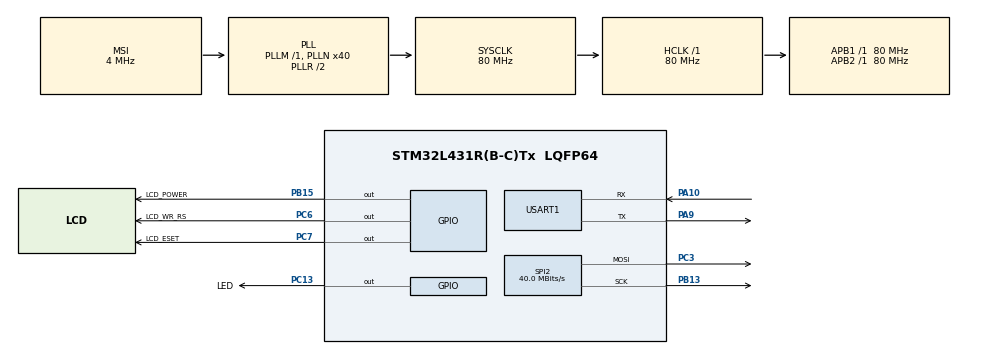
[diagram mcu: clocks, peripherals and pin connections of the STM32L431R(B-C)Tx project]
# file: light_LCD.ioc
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Mcu.Family=STM32L4
Mcu.Name=STM32L431R(B-C)Tx
Mcu.Package=LQFP64
NVIC.PriorityGroup=NVIC_PRIORITYGROUP_4
PA10.Mode=Asynchronous
PA10.Signal=USART1_RX
PA9.Mode=Asynchronous
PA9.Signal=USART1_TX
PB13.Mode=TX_Only_Simplex_Unidirect_Master
PB13.Signal=SPI2_SCK
PB15.GPIO_Label=LCD_POWER
PB15.Signal=GPIO_Output
PC13.GPIO_Label=LED
PC13.Signal=GPIO_Output
PC3.Mode=TX_Only_Simplex_Unidirect_Master
PC3.Signal=SPI2_MOSI
PC6.GPIO_Label=LCD_WR_RS
PC6.Signal=GPIO_Output
PC7.GPIO_Label=LCD_ESET
PC7.Signal=GPIO_Output
ProjectManager.HeapSize=0x200
ProjectManager.StackSize=0x400
ProjectManager.TargetToolchain=MDK-ARM V5.32
RCC.AHBFreq_Value=80000000
RCC.APB1Freq_Value=80000000
RCC.APB1TimFreq_Value=80000000
RCC.APB2Freq_Value=80000000
RCC.APB2TimFreq_Value=80000000
RCC.CortexFreq_Value=80000000
RCC.HCLKFreq_Value=80000000
RCC.HSE_VALUE=8000000
RCC.HSI48_VALUE=48000000
RCC.HSI_VALUE=16000000
RCC.LSE_VALUE=32768
RCC.MSI_VALUE=4000000
RCC.PLLN=40
RCC.SYSCLKFreq_VALUE=80000000
RCC.SYSCLKSource=RCC_SYSCLKSOURCE_PLLCLK
RCC.VCOOutputFreq_Value=160000000
SPI2.CLKPhase=SPI_PHASE_2EDGE
SPI2.CLKPolarity=SPI_POLARITY_HIGH
SPI2.CalculateBaudRate=40.0 MBits/s
SPI2.DataSize=SPI_DATASIZE_8BIT
SPI2.Direction=SPI_DIRECTION_2LINES
SPI2.Mode=SPI_MODE_MASTER
SPI2.VirtualType=VM_MASTER
USART1.VirtualMode-Asynchronous=VM_ASYNC
board=custom

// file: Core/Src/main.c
/* USER CODE BEGIN Header */
/**
  ******************************************************************************
  * @file           : main.c
  * @brief          : Main program body
  ******************************************************************************
  * @attention
  *
  * <h2><center>&copy; Copyright (c) 2021 STMicroelectronics.
  * All rights reserved.</center></h2>
  *
  * This software component is licensed by ST under BSD 3-Clause license,
  * the "License"; You may not use this file except in compliance with the
  * License. You may obtain a copy of the License at:
  *                        opensource.org/licenses/BSD-3-Clause
  *
  ******************************************************************************
  */
/* USER CODE END Header */
#include "main.h"
#include "spi.h"
#include "usart.h"
#include "gpio.h"

/* USER CODE BEGIN Includes */
#include "LCD.h" //add LCD hand
/* USER CODE END Includes */

void SystemClock_Config(void);

int main(void)
{

  /* MCU Configuration--------------------------------------------------------*/

  /* Reset of all peripherals, Initializes the Flash interface and the Systick. */
  HAL_Init();

  /* Configure the system clock */
  SystemClock_Config();

  /* Initialize all configured peripherals */
  MX_GPIO_Init();
  MX_SPI2_Init();
  MX_USART1_UART_Init();
  /* USER CODE BEGIN 2 */
	LCD_Init();

  /* USER CODE END 2 */

  /* Infinite loop */
  while (1)
  {

    /* USER CODE BEGIN 3 */
		LCD_Clear(BLACK);//清屏为黑色
		LCD_ShowString(5,10,240,32,32,"BearPiLCDTest");//显示字符串，字体大小32*32
		PutChinese_strings(10,100,"\xCE\xEF\xC1\xAA\xCD\xF8\xB9\xA4\xB3\xCC",0);//显示汉字"物联网工程",
		//LCD_ShowString(10,50,240,16,16,"Welcome to IoT CluB!");//显示字符串，字体大小16*16
		//LCD_ShowString(10,50+24,240,24,24,"to IoT CluB!");//显示字符串，字体大小24*24
		//LCD_ShowString(10,50+24+32,240,32,32,"!");//显示字符串，字体大小32*32

		HAL_GPIO_WritePin(LED_GPIO_Port,LED_Pin,GPIO_PIN_SET);//点亮LED灯

		HAL_Delay(1000);//延时1秒
		LCD_Clear(BLUE);//清屏为蓝色

		LCD_Draw_Circle(120,120,100);//画圈，半径r=100
		LCD_Draw_Circle(120,120,80);//画圈，半径r=80
		LCD_Draw_Circle(120,120,60);//画圈，半径r=60
		LCD_Draw_Circle(120,120,40);//画圈，半径r=40
		LCD_Draw_Circle(120,120,20);//画圈，半径r=20

		HAL_Delay(1000);//延时1秒
		LCD_Clear(BLACK);//清屏为黑色

		//画正方形
		LCD_DrawLine(50,50,50,100);//画直线
		LCD_DrawLine(50,100,100,100);
		LCD_DrawLine(100,100,100,50);
		LCD_DrawLine(50,50,100,50);
		HAL_Delay(1000);//延时1秒

		LCD_Clear(BLACK);//清屏为黑色
		HAL_GPIO_WritePin(LED_GPIO_Port,LED_Pin,GPIO_PIN_RESET);//熄灭LED灯
		HAL_Delay(1000);//延时1秒
  }
  /* USER CODE END 3 */
}

void SystemClock_Config(void)
{
  RCC_OscInitTypeDef RCC_OscInitStruct = {0};
  RCC_ClkInitTypeDef RCC_ClkInitStruct = {0};

  /** Configure the main internal regulator output voltage
  */
  if (HAL_PWREx_ControlVoltageScaling(PWR_REGULATOR_VOLTAGE_SCALE1) != HAL_OK)
  {
    Error_Handler();
  }
  /** Initializes the RCC Oscillators according to the specified parameters
  * in the RCC_OscInitTypeDef structure.
  */
  RCC_OscInitStruct.OscillatorType = RCC_OSCILLATORTYPE_MSI;
  RCC_OscInitStruct.MSIState = RCC_MSI_ON;
  RCC_OscInitStruct.MSICalibrationValue = 0;
  RCC_OscInitStruct.MSIClockRange = RCC_MSIRANGE_6;
  RCC_OscInitStruct.PLL.PLLState = RCC_PLL_ON;
  RCC_OscInitStruct.PLL.PLLSource = RCC_PLLSOURCE_MSI;
  RCC_OscInitStruct.PLL.PLLM = 1;
  RCC_OscInitStruct.PLL.PLLN = 40;
  RCC_OscInitStruct.PLL.PLLP = RCC_PLLP_DIV7;
  RCC_OscInitStruct.PLL.PLLQ = RCC_PLLQ_DIV2;
  RCC_OscInitStruct.PLL.PLLR = RCC_PLLR_DIV2;
  if (HAL_RCC_OscConfig(&RCC_OscInitStruct) != HAL_OK)
  {
    Error_Handler();
  }
  /** Initializes the CPU, AHB and APB buses clocks
  */
  RCC_ClkInitStruct.ClockType = RCC_CLOCKTYPE_HCLK|RCC_CLOCKTYPE_SYSCLK
                              |RCC_CLOCKTYPE_PCLK1|RCC_CLOCKTYPE_PCLK2;
  RCC_ClkInitStruct.SYSCLKSource = RCC_SYSCLKSOURCE_PLLCLK;
  RCC_ClkInitStruct.AHBCLKDivider = RCC_SYSCLK_DIV1;
  RCC_ClkInitStruct.APB1CLKDivider = RCC_HCLK_DIV1;
  RCC_ClkInitStruct.APB2CLKDivider = RCC_HCLK_DIV1;

  if (HAL_RCC_ClockConfig(&RCC_ClkInitStruct, FLASH_LATENCY_4) != HAL_OK)
  {
    Error_Handler();
  }
}

void Error_Handler(void)
{
  __disable_irq();
  while (1)
  {
  }
}

/************************ (C) COPYRIGHT STMicroelectronics *****END OF FILE****/
